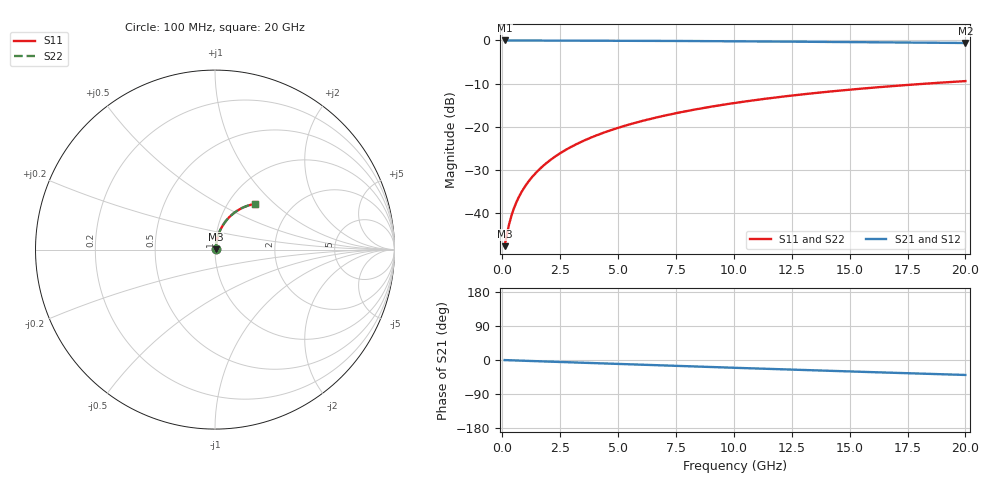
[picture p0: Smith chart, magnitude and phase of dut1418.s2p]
! Touchstone file exported from HFSS 2026.1.0
!  File:  C:/ffzhzh/LocalFiles/Ansys_Project_Files/temp_train_BSMRDL_1418_1783180155_22436.aedt
!  Generated:  11:50:32 PM Jul  4, 2026
!  Design:  BSMRDL
!  Project:  temp_train_BSMRDL_1418_1783180155_22436
! Variables:
!  h_bsmrdl = 2.34um
!  h_ox = 20um
!  h_rdl = 5um
!  h_sub = 80um
!  h_tmrdl = 5um
!  h_tsv = 80um
!  h_via = 3um
!  l_bsmrdl = 573.58um
!  l_sub = 973.58um
!  l_tmrdl = 200um
!  m_sub = 200um
!  pitch = 51.32um
!  r_tsv = 6um
!  s_tmrdl = 10um
!  w_bsmrdl = 27.49um
!  w_sub = 500um
!  w_tmrdl = 12um
!  x_tsv_center1 = 206um
!  x_tsv_center2 = 807.07um
!  x_tsv_center3 = 1019.07um
!  x_tsv_center4 = 1620.14um
!  x_tsv_center5 = 1832.14um
!  x_tsv_center6 = 2433.21um
# GHz S MA R 50.000000
! Terminal data exported
! Port[1] = BSM_RDL1_1_T1
! Port[2] = BSM_RDL1_1_T2
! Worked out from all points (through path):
!   200 points, 100 MHz to 20 GHz, reference 50 ohm
!   highest |S21| = -0.03 dB at 100 MHz (marker M1); lowest = -0.6 dB at 20 GHz (marker M2)
!   group delay of S21, straight-line fit = 5.49 ps
!   lowest |S11| = -47.6 dB at 100 MHz (marker M3), VSWR 1.01, Z = 50.4 + j0.224 ohm
!   |S11| at or under -10 dB: start of sweep to 18.35 GHz
!   |S22| runs from -47.6 to -9.4 dB; largest |S21 - S12| = 4e-15
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0.1  0.004158 32.3  0.9965 -0.2  0.9965 -0.2  0.004158 32.3
! Gamma 0 0 0 0
! Port Impedance 50 0 50 0
0.2  0.005729 50.1  0.9963 -0.4  0.9963 -0.4  0.005729 50.1
0.3  0.007569 59.0  0.9962 -0.7  0.9962 -0.7  0.007569 59.0
0.4  0.009463 64.1  0.996 -0.9  0.996 -0.9  0.009462 64.1
0.5  0.01136 67.4  0.9958 -1.1  0.9958 -1.1  0.01136 67.4
0.6  0.01324 69.7  0.9956 -1.3  0.9956 -1.3  0.01324 69.7
0.8  0.01699 72.9  0.9954 -1.7  0.9954 -1.7  0.01699 72.9
1.1  0.02265 75.7  0.9951 -2.3  0.9951 -2.3  0.02265 75.7
1.3  0.02644 76.8  0.9949 -2.7  0.9949 -2.7  0.02644 76.8
1.6  0.03216 77.9  0.9946 -3.4  0.9946 -3.4  0.03216 77.9
2.1  0.04175 78.7  0.9942 -4.4  0.9942 -4.4  0.04175 78.7
2.7  0.05329 78.8  0.9935 -5.6  0.9935 -5.6  0.05329 78.9
3.5  0.06865 78.3  0.9924 -7.3  0.9924 -7.3  0.06865 78.3
4.2  0.08203 77.5  0.9912 -8.7  0.9912 -8.7  0.08203 77.5
5  0.09721 76.3  0.9896 -10.4  0.9896 -10.4  0.09721 76.3
5.9  0.1141 74.8  0.9876 -12.2  0.9876 -12.2  0.1141 74.8
6.8  0.1308 73.2  0.9853 -14.1  0.9853 -14.1  0.1308 73.2
8.3  0.158 70.5  0.9808 -17.1  0.9808 -17.1  0.158 70.5
10.1  0.1895 67.1  0.9746 -20.7  0.9746 -20.7  0.1895 67.1
13.4  0.2439 60.9  0.9615 -27.2  0.9615 -27.2  0.2439 60.9
16.7  0.2934 54.8  0.9468 -33.4  0.9468 -33.4  0.2934 54.8
20  0.3376 48.9  0.9314 -39.5  0.9314 -39.5  0.3376 48.9
